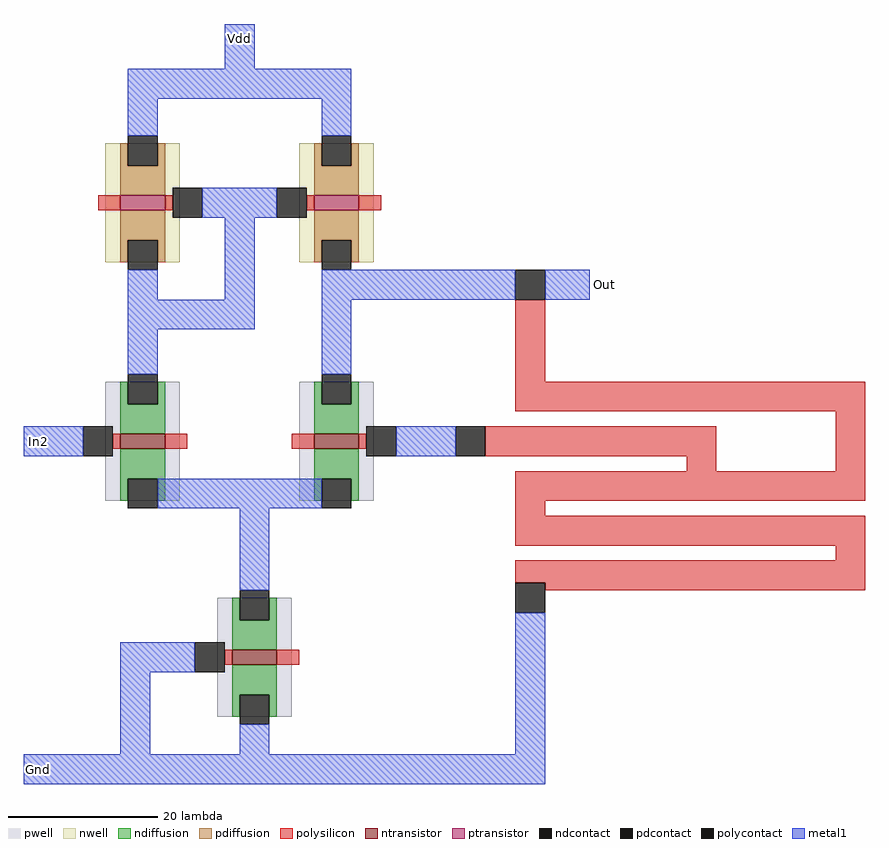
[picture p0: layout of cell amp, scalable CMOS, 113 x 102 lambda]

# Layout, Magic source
magic
tech scmos
<< pwell >>
rect 5 -16 15 0
rect 31 -16 41 0
rect 20 -45 30 -29
<< nwell >>
rect 5 16 15 32
rect 31 16 41 32
<< polysilicon >>
rect 4 23 7 25
rect 13 23 14 25
rect 32 23 33 25
rect 39 23 42 25
rect 60 0 64 11
rect 60 -4 107 0
rect 6 -9 7 -7
rect 13 -9 16 -7
rect 30 -9 33 -7
rect 39 -9 40 -7
rect 56 -10 87 -6
rect 83 -12 87 -10
rect 103 -12 107 -4
rect 60 -16 107 -12
rect 60 -18 64 -16
rect 60 -22 107 -18
rect 103 -24 107 -22
rect 60 -27 107 -24
rect 64 -28 107 -27
rect 21 -38 22 -36
rect 28 -38 31 -36
<< ndiffusion >>
rect 7 -3 8 0
rect 12 -3 13 0
rect 7 -7 13 -3
rect 33 -3 34 0
rect 38 -3 39 0
rect 33 -7 39 -3
rect 7 -13 13 -9
rect 7 -16 8 -13
rect 12 -16 13 -13
rect 33 -13 39 -9
rect 33 -16 34 -13
rect 38 -16 39 -13
rect 22 -32 23 -29
rect 27 -32 28 -29
rect 22 -36 28 -32
rect 22 -42 28 -38
rect 22 -45 23 -42
rect 27 -45 28 -42
<< pdiffusion >>
rect 7 29 8 32
rect 12 29 13 32
rect 7 25 13 29
rect 33 29 34 32
rect 38 29 39 32
rect 7 19 13 23
rect 33 25 39 29
rect 7 16 8 19
rect 12 16 13 19
rect 33 19 39 23
rect 33 16 34 19
rect 38 16 39 19
<< metal1 >>
rect 21 42 25 48
rect 8 38 38 42
rect 8 33 12 38
rect 34 33 38 38
rect 18 22 28 26
rect 8 11 12 15
rect 21 11 25 22
rect 8 7 25 11
rect 34 11 60 15
rect 64 11 70 15
rect 8 1 12 7
rect 34 1 38 11
rect -6 -10 2 -6
rect 44 -10 52 -6
rect 12 -17 34 -13
rect 23 -28 27 -17
rect 7 -39 17 -35
rect 7 -50 11 -39
rect 23 -50 27 -46
rect 60 -50 64 -31
rect -6 -54 64 -50
<< ntransistor >>
rect 7 -9 13 -7
rect 33 -9 39 -7
rect 22 -38 28 -36
<< ptransistor >>
rect 7 23 13 25
rect 33 23 39 25
<< polycontact >>
rect 14 22 18 26
rect 28 22 32 26
rect 60 11 64 15
rect 2 -10 6 -6
rect 40 -10 44 -6
rect 52 -10 56 -6
rect 60 -31 64 -27
rect 17 -39 21 -35
<< ndcontact >>
rect 8 -3 12 1
rect 34 -3 38 1
rect 8 -17 12 -13
rect 34 -17 38 -13
rect 23 -32 27 -28
rect 23 -46 27 -42
<< pdcontact >>
rect 8 29 12 33
rect 34 29 38 33
rect 8 15 12 19
rect 34 15 38 19
<< labels >>
rlabel metal1 -6 -54 -2 -50 2 Gnd
rlabel metal1 -6 -10 -2 -6 3 In2
rlabel metal1 21 44 25 48 5 Vdd
rlabel metal1 70 11 74 15 7 Out
<< end >>
